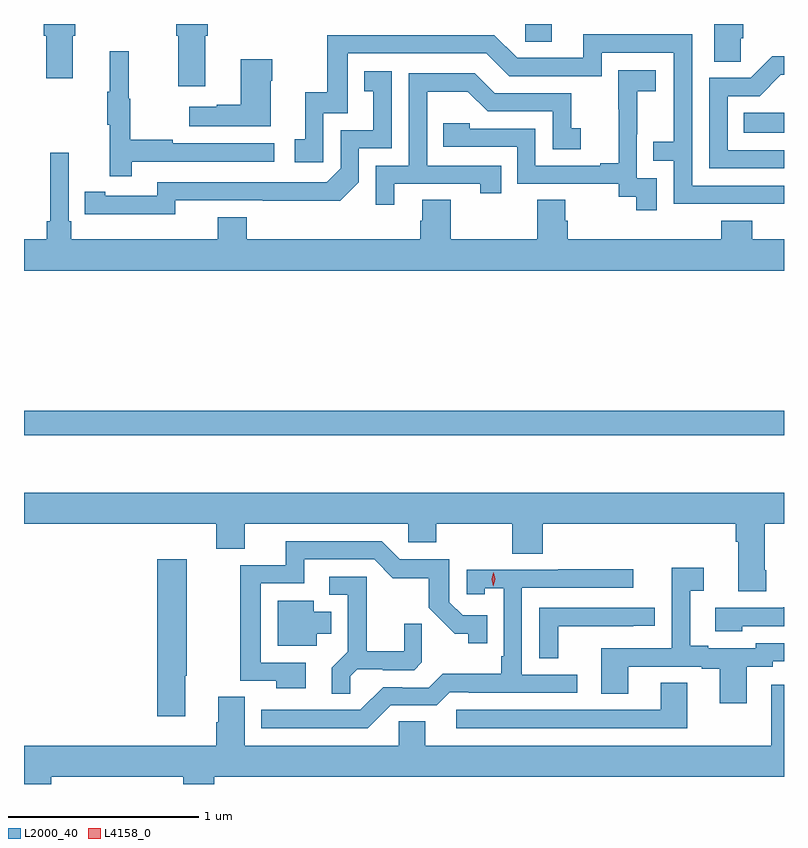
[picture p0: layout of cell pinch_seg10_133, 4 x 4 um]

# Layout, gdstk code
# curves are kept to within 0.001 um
import gdstk
lib = gdstk.Library(unit=1e-6, precision=1e-09)
def R(c, l, rs):  # rectangles x0, y0, x1, y1
    for r in rs: c.add(gdstk.rectangle(r[:2], r[2:], *l))
def P(c, l, *ps):  # polygons
    for p in ps: c.add(gdstk.Polygon(p, *l))
L2000_40 = (2000, 40)
L4158_0 = (4158, 0)

pinch_seg10_133 = lib.new_cell('pinch_seg10_133')
R(pinch_seg10_133, L2000_40, [(747.176,1278.138,751.176,1278.266), (750.964,1279.73,751.176,1279.834), (749.814,1280.209,749.953,1280.302)])
P(pinch_seg10_133, L2000_40, [(750.948,1280.227),(750.962,1280.227),(750.962,1280.302),(750.809,1280.302),(750.809,1280.104),(750.948,1280.104)],
  [(748.129,1280.24),(748.142,1280.24),(748.142,1280.302),(747.977,1280.302),(747.977,1280.24),(747.989,1280.24),(747.989,1279.974),(748.129,1279.974)],
  [(747.433,1280.24),(747.446,1280.24),(747.446,1280.302),(747.281,1280.302),(747.281,1280.24),(747.293,1280.24),(747.293,1280.016),(747.433,1280.016)],
  [(751.176,1279.452),(750.693,1279.452),(750.693,1280.247),(750.119,1280.247),(750.119,1280.124),(749.772,1280.124),(749.652,1280.244),(748.773,1280.244),(748.773,1279.942),(748.655,1279.942),(748.655,1279.695),(748.602,1279.695),(748.602,1279.575),(748.752,1279.575),(748.752,1279.833),(748.881,1279.833),(748.881,1280.148),(749.61,1280.148),(749.73,1280.028),(750.216,1280.028),(750.216,1280.151),(750.597,1280.151),(750.597,1279.682),(750.487,1279.682),(750.487,1279.581),(750.597,1279.581),(750.597,1279.356),(751.176,1279.355)],
  [(747.743,1279.578),(748.492,1279.578),(748.492,1279.674),(747.959,1279.674),(747.959,1279.694),(747.736,1279.694),(747.736,1279.908),(747.728,1279.908),(747.728,1280.158),(747.626,1280.158),(747.626,1279.945),(747.615,1279.945),(747.615,1279.771),(747.626,1279.771),(747.626,1279.5),(747.743,1279.5)],
  [(751.176,1279.638),(750.879,1279.638),(750.879,1279.923),(751.048,1279.923),(751.159,1280.034),(751.176,1280.034),(751.176,1280.132),(751.115,1280.132),(751.002,1280.019),(750.783,1280.019),(750.783,1279.542),(751.176,1279.542)],
  [(748.474,1280.003),(748.482,1280.003),(748.482,1280.116),(748.316,1280.116),(748.316,1279.877),(748.19,1279.877),(748.19,1279.867),(748.047,1279.867),(748.047,1279.763),(748.474,1279.763)],
  [(750.507,1279.491),(750.402,1279.491),(750.402,1279.721),(750.404,1279.721),(750.404,1279.949),(750.502,1279.949),(750.502,1280.059),(750.304,1280.059),(750.304,1279.853),(750.305,1279.853),(750.305,1279.57),(750.209,1279.57),(750.209,1279.557),(749.868,1279.557),(749.868,1279.752),(749.523,1279.752),(749.523,1279.779),(749.383,1279.779),(749.383,1279.656),(749.772,1279.656),(749.772,1279.461),(750.306,1279.461),(750.306,1279.393),(750.399,1279.393),(750.399,1279.323),(750.507,1279.323)],
  [(747.972,1279.374),(748.84,1279.373),(748.938,1279.47),(748.938,1279.647),(749.112,1279.647),(749.112,1280.053),(748.966,1280.053),(748.966,1279.947),(749.015,1279.947),(749.015,1279.743),(748.842,1279.743),(748.842,1279.542),(748.77,1279.47),(747.876,1279.47),(747.876,1279.398),(747.604,1279.398),(747.604,1279.418),(747.496,1279.418),(747.496,1279.302),(747.972,1279.301)],
  [(749.125,1279.461),(749.576,1279.461),(749.576,1279.41),(749.687,1279.41),(749.687,1279.557),(749.298,1279.557),(749.298,1279.946),(749.512,1279.946),(749.616,1279.842),(749.958,1279.842),(749.958,1279.644),(750.106,1279.644),(750.106,1279.753),(750.057,1279.753),(750.057,1279.938),(749.653,1279.938),(749.548,1280.043),(749.202,1280.043),(749.202,1279.557),(749.028,1279.557),(749.028,1279.35),(749.125,1279.35)],
  [(751.176,1279.168),(751.01,1279.168),(751.01,1279.267),(750.845,1279.267),(750.845,1279.168),(750.038,1279.168),(750.038,1279.266),(750.025,1279.266),(750.025,1279.376),(749.878,1279.376),(749.878,1279.168),(749.421,1279.168),(749.421,1279.376),(749.273,1279.376),(749.273,1279.266),(749.261,1279.266),(749.261,1279.168),(748.349,1279.168),(748.349,1279.285),(748.196,1279.285),(748.196,1279.168),(747.425,1279.168),(747.425,1279.264),(747.411,1279.264),(747.411,1279.624),(747.314,1279.624),(747.314,1279.264),(747.295,1279.264),(747.295,1279.168),(747.176,1279.168),(747.176,1279.004),(751.176,1279.004)],
  [(751.083,1277.428),(751.075,1277.428),(751.075,1277.672),(751.176,1277.672),(751.176,1277.836),(747.176,1277.836),(747.176,1277.672),(748.187,1277.672),(748.187,1277.539),(748.339,1277.539),(748.339,1277.672),(749.199,1277.672),(749.199,1277.574),(749.346,1277.574),(749.346,1277.672),(749.746,1277.672),(749.746,1277.515),(749.906,1277.515),(749.906,1277.672),(750.923,1277.672),(750.923,1277.576),(750.935,1277.576),(750.935,1277.316),(751.083,1277.316)],
  [(748.66,1276.941),(748.422,1276.941),(748.422,1277.358),(748.651,1277.358),(748.651,1277.484),(749.019,1277.484),(749.118,1277.386),(749.307,1277.386),(749.307,1277.23),(749.444,1277.093),(749.514,1277.093),(749.514,1277.043),(749.615,1277.043),(749.615,1277.19),(749.484,1277.19),(749.415,1277.259),(749.415,1277.484),(749.154,1277.484),(749.058,1277.58),(748.553,1277.58),(748.553,1277.454),(748.314,1277.454),(748.314,1276.845),(748.504,1276.845),(748.504,1276.805),(748.66,1276.805)],
  [(748.024,1276.871),(748.032,1276.871),(748.032,1277.485),(747.878,1277.485),(747.878,1276.659),(748.024,1276.659)],
  [(750.979,1276.92),(751.116,1276.92),(751.116,1276.947),(751.176,1276.947),(751.176,1277.043),(751.026,1277.043),(751.026,1277.016),(750.778,1277.016),(750.778,1277.029),(750.682,1277.029),(750.682,1277.32),(750.754,1277.32),(750.754,1277.44),(750.585,1277.44),(750.585,1277.016),(750.215,1277.016),(750.215,1276.777),(750.355,1276.777),(750.355,1276.92),(750.743,1276.92),(750.743,1276.908),(750.839,1276.908),(750.839,1276.728),(750.979,1276.728)],
  [(749.106,1276.716),(749.349,1276.716),(749.418,1276.785),(749.518,1276.785),(749.518,1276.782),(750.088,1276.782),(750.088,1276.878),(749.796,1276.878),(749.796,1277.334),(750.382,1277.334),(750.382,1277.433),(749.989,1277.433),(749.989,1277.43),(749.505,1277.43),(749.505,1277.301),(749.601,1277.301),(749.601,1277.333),(749.7,1277.333),(749.7,1276.975),(749.688,1276.975),(749.688,1276.882),(749.38,1276.882),(749.307,1276.809),(749.168,1276.809),(749.168,1276.812),(749.067,1276.812),(748.947,1276.692),(748.424,1276.692),(748.424,1276.596),(748.986,1276.596)],
  [(748.893,1276.868),(748.93,1276.905),(749.064,1276.905),(749.064,1276.902),(749.229,1276.902),(749.27,1276.943),(749.27,1277.145),(749.176,1277.145),(749.176,1277.002),(748.979,1277.002),(748.979,1277.394),(748.782,1277.394),(748.782,1277.298),(748.881,1277.298),(748.881,1276.999),(748.795,1276.913),(748.795,1276.777),(748.893,1276.777)],
  [(748.717,1277.093),(748.792,1277.093),(748.792,1277.209),(748.702,1277.209),(748.702,1277.266),(748.511,1277.266),(748.511,1277.03),(748.717,1277.03)],
  [(750.957,1277.133),(751.176,1277.133),(751.176,1277.232),(751.171,1277.232),(751.171,1277.229),(750.813,1277.229),(750.813,1277.105),(750.957,1277.105)],
  [(749.988,1277.133),(750.383,1277.133),(750.383,1277.134),(750.496,1277.134),(750.496,1277.229),(749.889,1277.229),(749.889,1276.963),(749.988,1276.963)],
  [(750.667,1276.835),(750.527,1276.835),(750.527,1276.692),(749.451,1276.692),(749.451,1276.596),(750.667,1276.596)],
  [(747.32,1276.34),(748.013,1276.34),(748.013,1276.302),(748.178,1276.302),(748.178,1276.34),(751.176,1276.34),(751.176,1276.825),(751.109,1276.825),(751.109,1276.504),(749.287,1276.504),(749.287,1276.631),(749.148,1276.631),(749.148,1276.504),(748.339,1276.504),(748.339,1276.76),(748.199,1276.76),(748.199,1276.626),(748.187,1276.626),(748.187,1276.504),(747.176,1276.504),(747.176,1276.302),(747.32,1276.302)])
P(pinch_seg10_133, L4158_0, [(749.647,1277.343),(749.647,1277.343),(749.637,1277.379),(749.647,1277.414),(749.648,1277.415),(749.648,1277.414),(749.657,1277.379),(749.647,1277.343)])

lib.write_gds('pinch_seg10_133.gds')
